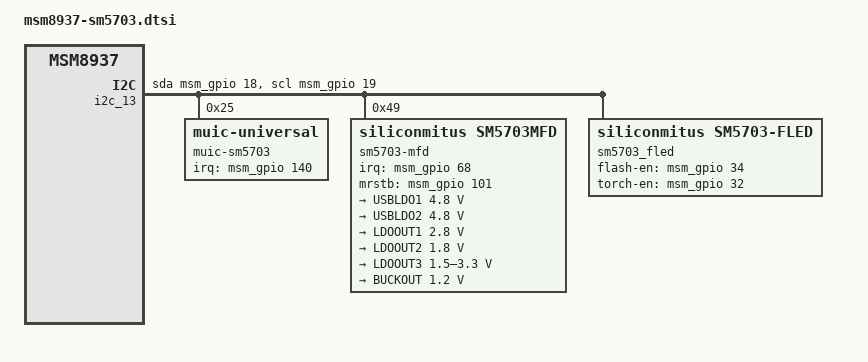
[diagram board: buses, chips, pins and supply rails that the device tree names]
/* Copyright (c) 2012, The Linux Foundation. All rights reserved.
 *
 * This program is free software; you can redistribute it and/or modify
 * it under the terms of the GNU General Public License version 2 and
 * only version 2 as published by the Free Software Foundation.
 *
 * This program is distributed in the hope that it will be useful,
 * but WITHOUT ANY WARRANTY; without even the implied warranty of
 * MERCHANTABILITY or FITNESS FOR A PARTICULAR PURPOSE.  See the
 * GNU General Public License for more details.
 */

&soc {
	i2c_13: i2c@13 {
		cell-index = <13>;
		compatible = "i2c-gpio";
		gpios = <&msm_gpio 18 0 /* sda */
			&msm_gpio 19 0	/* scl */
			>;
		i2c-gpio,delay-us = <2>;
		#address-cells = <1>;
		#size-cells = <0>;

		muic-sm5703@25 {
			status = "okay";
			compatible = "muic-universal";
			reg = <0x25>;
			interrupt-parent = <&msm_gpio>;
			interrupts = <140 0>;
			muic-universal,irq-gpio = <&msm_gpio 140 0x00>;
			sm5703,wakeup;
			muic-universal,chip_name = "sm,sm5703";
			muic-universal,afc-support = <0>;
			pinctrl-names = "muic_i2c_pins_default",
				"muic_i2c_pins_active",
				"muic_i2c_pins_suspend";
			pinctrl-0 = <&sm5705_i2c_default &sm5705_interrupt_default &ifc_sense_int_ap_default>;
			pinctrl-1 = <&sm5705_i2c_active &sm5705_interrupt_default &ifc_sense_int_ap_default>;
			pinctrl-2 = <&sm5705_i2c_suspend &sm5705_interrupt_default &ifc_sense_int_ap_default>;
		};

		sm5703-mfd@49{
			compatible = "siliconmitus,sm5703mfd";
			reg = <0x49>;
			interrupt-parent = <&msm_gpio>;
			sm5703,irq-gpio = <&msm_gpio 68 0x00>;
			pinctrl-names = "default";
			pinctrl-0 = <&charger_int_active>;
			sm5703,mrstb-gpio = <&msm_gpio 101 0x00>;

			sm5703_charger {
				compatible = "siliconmitus,sm5703-charger";
				chg_autostop = <1>;
				chg_autoset = <1>;
				chg_aiclen = <1>;
				chg_aiclth = <4300>;
				fg_vol_val = <4350>;
				fg_soc_val = <95>;
				fg_curr_avr_val = <150>;
			};

			sm5703_usbldo1 {
				compatible = "siliconmitus,sm5703-usbldo1";
				regulator-name = "USBLDO1"; /* change name by yourself */
				regulator-min-microvolt = <4800000>;
				regulator-max-microvolt = <4800000>; /* max == min then apply_uV = 1 */
				/* regulator-microvolt-offset = < >; optional*/
				/* regulator-boot-on; optional, exist = enabled */
				regulator-always-on;
				/* regulator-ramp-delay = <100>; optional*/
			};

			sm5703_usbldo2 {
				compatible = "siliconmitus,sm5703-usbldo2";
				regulator-name = "USBLDO2"; /* change name by yourself */
				regulator-min-microvolt = <4800000>;
				regulator-max-microvolt = <4800000>; /* max == min then apply_uV = 1 */
				/* regulator-microvolt-offset = < >; optional*/
				/* regulator-boot-on; optional, exist = enabled */
				/* regulator-always-on; optional, exist = enabled */
				/* regulator-ramp-delay = <100>; optional*/
			};

			sm5703_ldo1 {
				compatible = "siliconmitus,sm5703-ldo1";
				regulator-name = "LDOOUT1"; /* change name by yourself */
				regulator-min-microvolt = <2800000>;
				regulator-max-microvolt = <2800000>; /* max == min then apply_uV = 1 */
				/* regulator-microvolt-offset = < >; optional*/
				/* regulator-boot-on; optional, exist = enabled */
				/* regulator-always-on; optional, exist = enabled */
				/* regulator-ramp-delay = <100>; optional*/
			};

			sm5703_ldo2 {
				compatible = "siliconmitus,sm5703-ldo2";
				regulator-name = "LDOOUT2"; /* change name by yourself */
				regulator-min-microvolt = <1800000>;
				regulator-max-microvolt = <1800000>; /* max == min then apply_uV = 1 */
				/* regulator-microvolt-offset = < >; optional*/
				/* regulator-boot-on; optional, exist = enabled */
				/* regulator-always-on; optional, exist = enabled */
				/* regulator-ramp-delay = <100>; optional*/
			};

			sm5703_ldo3 {
				compatible = "siliconmitus,sm5703-ldo3";
				regulator-name = "LDOOUT3"; /* change name by yourself */
				regulator-min-microvolt = <1500000>;
				regulator-max-microvolt = <3300000>; /* max == min then apply_uV = 1 */
				/* regulator-microvolt-offset = < >; optional*/
				/* regulator-boot-on; optional, exist = enabled */
				/* regulator-always-on; optional, exist = enabled */
				/* regulator-ramp-delay = <100>; optional*/
			};

			sm5703_buck {
				compatible = "siliconmitus,sm5703-buck";
				regulator-name = "BUCKOUT"; /* change name by yourself */
				regulator-min-microvolt = <1200000>;
				regulator-max-microvolt = <1200000>; /* max == min then apply_uV = 1 */
				/* regulator-microvolt-offset = < >; optional*/
				/* regulator-boot-on; optional, exist = enabled */
				/* regulator-always-on; optional, exist = enabled */
				/* regulator-ramp-delay = <100>; optional*/

			};
		};

		sm5703_fled {
			compatible = "siliconmitus,sm5703-fled";
			enable = <1 1>;
			id = <0>;
			flash-mode-current-mA = <1200>;
			torch-mode-current-mA = <150>;
			used-gpio-control = <1>;
			flash-en-gpio = <&msm_gpio 34 0x00>;
			torch-en-gpio = <&msm_gpio 32 0x00>;
		};



	};
};

/ {
	muic {
		status = "okay";
		muic,support-list = "+OTG:GND",
					"-MHL:1K",
					"-VZW Accessory:28.7K",
					"-VZW Incompatible:34K",
					"-Smartdock:40.2K",
					"-HMT:49.9K",
					"-Audiodock:64.9K",
					"+USB LANHUB:80.07K",
					"+Charging Cable:102K",
					"+Universal Multimedia dock:121K",
					"+Jig USB Off:255K",
					"+Jig USB On:301K",
					"+Deskdock:365K",
					"+TYPE2 Charger:442K",
					"+Jig UART Off:523K",
					"+Jig UART On:619K",
					"+TA:OPEN",
					"+USB:OPEN",
					"+CDP:OPEN",
					"+Undefined Charging:XXX";
	};
};

